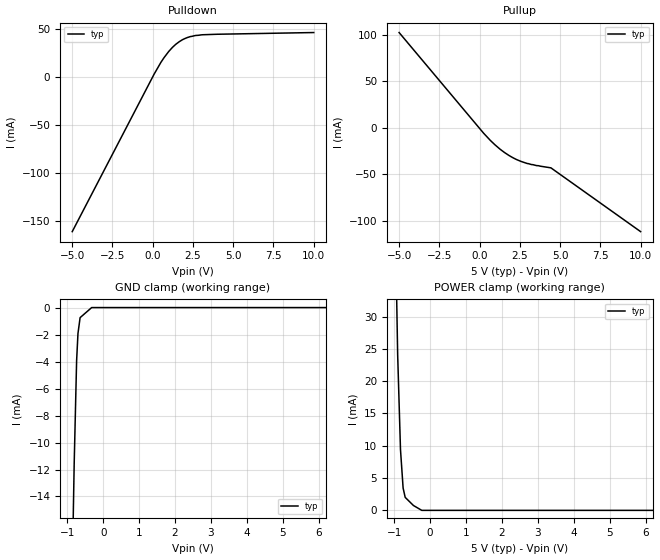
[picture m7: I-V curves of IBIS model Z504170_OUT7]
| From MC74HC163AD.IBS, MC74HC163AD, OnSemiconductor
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| (C) COPYRIGHT 1993-2000
| MENTOR GRAPHICS CORPORATION
| ICX STANDARD LIBRARY, ICX PROJECT MODELING,
| ICX CUSTOM MODELING, ICX VENDOR MODEL
| ALL RIGHTS RESERVED.
| THE FOLLOWING ARE TRADEMARKS OR SERVICE MARKS OF
| MENTOR GRAPHICS CORPORATION:ICX (R), ICX STANDARD
| LIBRARY(R), ICX PROJECT MODELING(R), ICX CUSTOM
| MODELING(R), qualityIBIS(TM), MODELVIEWER(TM),
| AND MODELEDITOR(TM)
| ALL COPIES OF SOFTWARE, INCLUDING BUT NOT LIMITED TO
| ANY MODIFICATIONS, ENHANCEMENTS OR DERIVATIVE WORKS,
| MUST CONTAIN ALL MENTOR GRAPHICS CORPORATION'S
| NOTICES AND LEGENDS, INCLUDING THOSE EMBEDDED IN
| SOFTWARE AND THOSE AFFIXED TO SOFTWARE MEDIUM
| AND CONTAINER, AS RECEIVED FROM MENTOR GRAPHICS
| CORPORATION.
| Model Application Version 1.89 2/18/99.
[Model] Z504170_OUT7
Model_type Output
Vref=0.000V
Rref=500.0Mohms
Cref=50.00pF
Vmeas=2.500V
C_comp 8.000pF NA NA
| variable typ   min   max
[Voltage Range] 5.000V NA NA
[POWER Clamp Reference] 5.000V NA NA
[Pullup Reference] 5.000V NA NA
[Pulldown Reference] 0.000V NA NA
[GND Clamp Reference] 0.000V NA NA
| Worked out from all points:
|   slope of the pulldown table from 0 to 0.75 V, typ, clamps not added: 35.8 ohm
|   slope of the pullup table from 0 to 0.75 V, typ, clamps not added: 52.6 ohm
|   GND clamp passes 1 mA (typ) near -0.66 V on its own axis
|   POWER clamp passes 1 mA (typ) near -0.51 V on its own axis
[GND Clamp]
-5V       -501.6mA   NA         NA
-1.04V    -46.04mA   NA         NA
-809mV    -11.56mA   NA         NA
-741.6mV  -3.945mA   NA         NA
-704mV    -1.925mA   NA         NA
-644.3mV  -746.1uA   NA         NA
-322.1mV  0A         NA         NA
10V       0A         NA         NA
[Pulldown]
-5V       -160.8mA   NA         NA
83.43mV   2.784mA    NA         NA
703.4mV   20.03mA    NA         NA
996.9mV   26.49mA    NA         NA
1.428V    33.83mA    NA         NA
1.841V    38.6mA     NA         NA
2.138V    40.83mA    NA         NA
3.094V    43.8mA     NA         NA
10V       46.1mA     NA         NA
[Pullup]
-5V       102.5mA    NA         NA
255mV     -5.77mA    NA         NA
665mV     -13.36mA   NA         NA
1.275V    -22.89mA   NA         NA
2.044V    -31.77mA   NA         NA
2.58V     -36mA      NA         NA
3.216V    -39.31mA   NA         NA
4.429V    -42.87mA   NA         NA
10V       -111.4mA   NA         NA
[POWER Clamp]
-5V       2.064A     NA         NA
-1.377V   209.2mA    NA         NA
-1.098V   85.6mA     NA         NA
-904mV    24.15mA    NA         NA
-825mV    9.41mA     NA         NA
-752mV    3.454mA    NA         NA
-694mV    2.009mA    NA         NA
-464mV    752uA      NA         NA
-232mV    0A         NA         NA
10V       0A         NA         NA
[Ramp]
| variable typ min max
dV/dt_r 2.740/1.303n NA NA
dV/dt_f 2.740/1.324n NA NA
R_load = 500.0Ohms
